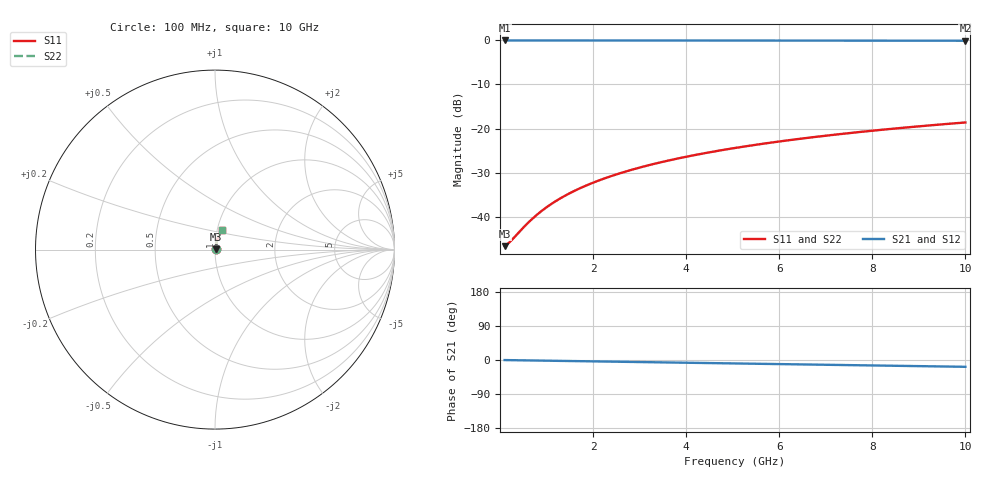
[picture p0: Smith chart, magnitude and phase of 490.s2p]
# Hz S RI R 50.00
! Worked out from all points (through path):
!   100 points, 100 MHz to 10 GHz, reference 50 ohm
!   highest |S21| = -0.04 dB at 100 MHz (marker M1); lowest = -0.1 dB at 10 GHz (marker M2)
!   group delay of S21, straight-line fit = 4.99 ps
!   lowest |S11| = -46.7 dB at 100 MHz (marker M3), VSWR 1.01, Z = 50.5 + j0.119 ohm
!   |S11| at or under -10 dB: start of sweep to end of sweep
!   |S22| runs from -46.7 to -18.6 dB; largest |S21 - S12| = 0
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1e8  0.00449 0.00118  0.9955 -0.00313  0.9955 -0.00313  0.00449 0.00118
2e8  0.00453 0.00236  0.9955 -0.00625  0.9955 -0.00625  0.00453 0.00236
6e8  0.00472 0.00708  0.9952 -0.0188  0.9952 -0.0188  0.00472 0.00708
7e8  0.00478 0.00826  0.9951 -0.0219  0.9951 -0.0219  0.00478 0.00826
9e8  0.00492 0.0106  0.9949 -0.0281  0.9949 -0.0281  0.00492 0.0106
1.1e9  0.00508 0.013  0.9947 -0.0344  0.9947 -0.0344  0.00508 0.013
1.3e9  0.00528 0.0153  0.9944 -0.0406  0.9944 -0.0406  0.00528 0.0153
1.5e9  0.0055 0.0177  0.994 -0.0469  0.994 -0.0469  0.0055 0.0177
1.8e9  0.00588 0.0212  0.9935 -0.0562  0.9935 -0.0562  0.00588 0.0212
2.1e9  0.00633 0.0247  0.9928 -0.0656  0.9928 -0.0656  0.00633 0.0247
2.5e9  0.00703 0.0294  0.9917 -0.078  0.9917 -0.078  0.00703 0.0294
2.9e9  0.00785 0.034  0.9905 -0.0905  0.9905 -0.0905  0.00785 0.034
3.4e9  0.00903 0.0398  0.9887 -0.106  0.9887 -0.106  0.00903 0.0398
3.8e9  0.0101 0.0444  0.9871 -0.1184  0.9871 -0.1184  0.0101 0.0444
4.2e9  0.0113 0.0489  0.9853 -0.1307  0.9853 -0.1307  0.0113 0.0489
4.6e9  0.0126 0.0535  0.9833 -0.143  0.9833 -0.143  0.0126 0.0535
5.1e9  0.0144 0.0591  0.9806 -0.1584  0.9806 -0.1584  0.0144 0.0591
5.9e9  0.0176 0.0679  0.9757 -0.1828  0.9757 -0.1828  0.0176 0.0679
6.7e9  0.0213 0.0766  0.9701 -0.207  0.9701 -0.207  0.0213 0.0766
7.5e9  0.0253 0.085  0.9638 -0.231  0.9638 -0.231  0.0253 0.085
8.4e9  0.0304 0.0942  0.9559 -0.2578  0.9559 -0.2578  0.0304 0.0942
1e10  0.0407 0.1099  0.9399 -0.3046  0.9399 -0.3046  0.0407 0.1099
